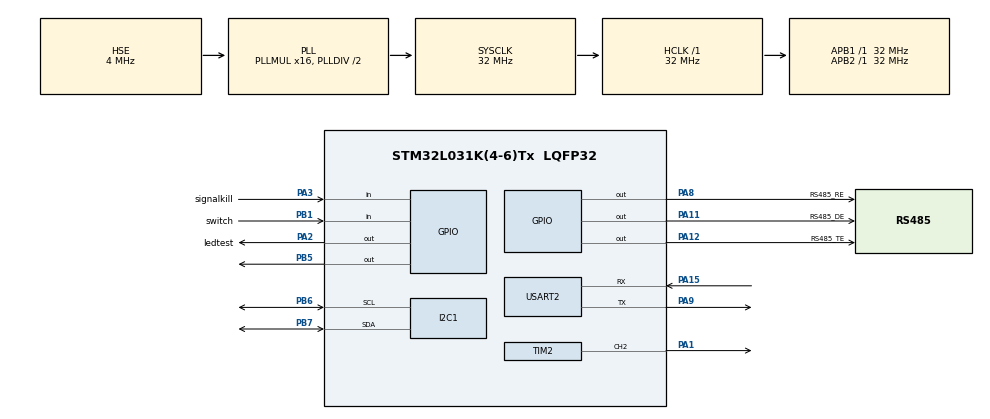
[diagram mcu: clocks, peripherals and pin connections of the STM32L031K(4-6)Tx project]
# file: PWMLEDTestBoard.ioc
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Dma.Request0=TIM2_CH2
Dma.TIM2_CH2.0.Direction=DMA_MEMORY_TO_PERIPH
Dma.TIM2_CH2.0.Instance=DMA1_Channel3
Dma.TIM2_CH2.0.MemDataAlignment=DMA_MDATAALIGN_BYTE
Dma.TIM2_CH2.0.MemInc=DMA_MINC_ENABLE
Dma.TIM2_CH2.0.Mode=DMA_NORMAL
Dma.TIM2_CH2.0.PeriphDataAlignment=DMA_PDATAALIGN_HALFWORD
Dma.TIM2_CH2.0.PeriphInc=DMA_PINC_DISABLE
Dma.TIM2_CH2.0.Priority=DMA_PRIORITY_LOW
FREERTOS.Tasks01=AllumageLED,24,256,Allumage_LED,Default,NULL,Dynamic,NULL,NULL;RecoisTrans,32,128,Recois_Trans,Default,NULL,Dynamic,NULL,NULL
I2C1.Timing=0x00B07CB4
Mcu.Family=STM32L0
Mcu.Name=STM32L031K(4-6)Tx
Mcu.Package=LQFP32
NVIC.DMA1_Channel2_3_IRQn=true\:3\:0\:false\:false\:true\:true\:false\:true\:true
NVIC.USART2_IRQn=true\:3\:0\:false\:false\:true\:true\:true\:true\:true
PA0-CK_IN.Mode=HSE-External-Clock-Source-for-LittleNemo
PA0-CK_IN.Signal=RCC_CK_IN
PA1.Signal=S_TIM2_CH2
PA11.GPIO_Label=RS485_DE
PA11.Signal=GPIO_Output
PA12.GPIO_Label=RS485_TE
PA12.Signal=GPIO_Output
PA13.Mode=Serial_Wire
PA13.Signal=SYS_SWDIO
PA14.Mode=Serial_Wire
PA14.Signal=SYS_SWCLK
PA15.Mode=Asynchronous
PA15.Signal=USART2_RX
PA2.GPIO_Label=ledtest
PA2.Signal=GPIO_Output
PA3.GPIO_Label=signalkill
PA3.Signal=GPIO_Input
PA8.GPIO_Label=RS485_RE
PA8.Signal=GPIO_Output
PA9.Mode=Asynchronous
PA9.Signal=USART2_TX
PB1.GPIO_Label=switch
PB1.Signal=GPIO_Input
PB5.Signal=GPIO_Output
PB6.Mode=I2C
PB6.Signal=I2C1_SCL
PB7.Mode=I2C
PB7.Signal=I2C1_SDA
ProjectManager.HeapSize=0x10
ProjectManager.StackSize=0x10
ProjectManager.TargetToolchain=STM32CubeIDE
RCC.AHBFreq_Value=32000000
RCC.APB1Freq_Value=32000000
RCC.APB1TimFreq_Value=32000000
RCC.APB2Freq_Value=32000000
RCC.APB2TimFreq_Value=32000000
RCC.EnbaleCSS=true
RCC.HCLKFreq_Value=32000000
RCC.HSE_VALUE=4000000
RCC.HSI16_VALUE=16000000
RCC.HSI_VALUE=16000000
RCC.LSE_VALUE=32768
RCC.MSI_VALUE=2097000
RCC.PLLMUL=RCC_PLLMUL_16
RCC.PLLSourceVirtual=RCC_PLLSOURCE_HSE
RCC.SYSCLKFreq_VALUE=32000000
RCC.SYSCLKSource=RCC_SYSCLKSOURCE_PLLCLK
RCC.Usart2ClockSelection=RCC_USART2CLKSOURCE_SYSCLK
RCC.VCOOutputFreq_Value=64000000
SH.S_TIM2_CH2.0=TIM2_CH2,PWM Generation2 CH2
TIM2.AutoReloadPreload=TIM_AUTORELOAD_PRELOAD_DISABLE
TIM2.Channel-PWM\ Generation2\ CH2=TIM_CHANNEL_2
TIM2.OCMode_PWM-PWM\ Generation2\ CH2=TIM_OCMODE_PWM1
TIM2.Period=39
USART2.VirtualMode-Asynchronous=VM_ASYNC
VP_FREERTOS_VS_CMSIS_V2.Mode=CMSIS_V2
VP_TIM2_VS_ClockSourceINT.Mode=Internal
board=custom

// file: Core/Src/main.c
/* USER CODE BEGIN Header */
/**
  ******************************************************************************
  * @file           : main.c
  * @brief          : Main program body
  ******************************************************************************
  * @attention
  *
  * Copyright (c) 2026 STMicroelectronics.
  * All rights reserved.
  *
  * This software is licensed under terms that can be found in the LICENSE file
  * in the root directory of this software component.
  * If no LICENSE file comes with this software, it is provided AS-IS.
  *
  ******************************************************************************
  */
/* USER CODE END Header */
#include "main.h"
#include "cmsis_os.h"

/* USER CODE BEGIN Includes */
#include "RS485_Definition.h"
#include "../LibrairieWS/Interface_FctWS.h"
#include "../LibrairieWS/Interface_ws2812b_driver.h"
#include "../Service/serviceRS485.h"
#include "../Processus/processTestRS485.h"

/* USER CODE END Includes */

I2C_HandleTypeDef hi2c1;

TIM_HandleTypeDef htim2;
DMA_HandleTypeDef hdma_tim2_ch2;

UART_HandleTypeDef huart2;

/* Definitions for AllumageLED */
osThreadId_t AllumageLEDHandle;
const osThreadAttr_t AllumageLED_attributes = {
  .name = "AllumageLED",
  .stack_size = 256 * 4,
  .priority = (osPriority_t) osPriorityNormal,
};

/* Definitions for TestRS485 */
osThreadId_t TestRS485Handle;
const osThreadAttr_t TestRS485_attributes = {
  .name = "TestRS485",
  .stack_size = 256 * 4,
  .priority = (osPriority_t) osPriorityNormal,
};
/* USER CODE BEGIN PV */
ws2812bLedStruct ledStrip;
/* USER CODE END PV */

void SystemClock_Config(void);
static void MX_GPIO_Init(void);
static void MX_DMA_Init(void);
static void MX_I2C1_Init(void);
static void MX_USART2_UART_Init(void);
static void MX_TIM2_Init(void);
void Allumage_LED(void *argument);

/* USER CODE BEGIN PFP */
//void WS2812_Send(ws2812bLedStruct * ledStrip);
//HAL_TIM_PWM_Start(&htim2, TIM_CHANNEL_2);
/* USER CODE END PFP */

int main(void)
{

  /* MCU Configuration--------------------------------------------------------*/

  /* Reset of all peripherals, Initializes the Flash interface and the Systick. */
  HAL_Init();

  /* USER CODE BEGIN Init */
  ws2812bLedStructInit(&ledStrip);
  /* USER CODE END Init */

  /* Configure the system clock */
  SystemClock_Config();

  /* Initialize all configured peripherals */
  MX_GPIO_Init();
  MX_DMA_Init();
  MX_I2C1_Init();
  MX_USART2_UART_Init();
  MX_TIM2_Init();
  /* USER CODE BEGIN 2 */
  //HAL_TIM_PWM_Start_DMA(&htim2, TIM_CHANNEL_2);
  /* USER CODE END 2 */

  /* Init scheduler */
  osKernelInitialize();

  /* USER CODE BEGIN RTOS_MUTEX */
  serviceRS485_initialise();
  /* USER CODE END RTOS_MUTEX */

  /* Create the thread(s) */
  /* creation of AllumageLED */
  AllumageLEDHandle = osThreadNew(Allumage_LED, NULL, &AllumageLED_attributes);

  /* USER CODE BEGIN RTOS_THREADS */
  TestRS485Handle = osThreadNew(
      processTestRS485_thread,
      NULL,
      &TestRS485_attributes
  );
  /* USER CODE END RTOS_THREADS */

  /* Start scheduler */
  osKernelStart();

  /* We should never get here as control is now taken by the scheduler */

  /* Infinite loop */
  while (1)
  {

    /* USER CODE BEGIN 3 */
	  /*
	 ws2812bSetRGB(&ledStrip,0,255,255,255);
	 ws2812bSetRGB(&ledStrip,1,255,0,0);
	 ws2812bSetRGB(&ledStrip,2,255,255,0);
	 ws2812bSetRGB(&ledStrip,3,255,0,0);
	 ws2812bSetRGB(&ledStrip,4,0,255,0);
	 ws2812bSetRGB(&ledStrip,5,255,0,0);
	 ws2812bSetRGB(&ledStrip,6,0,255,0);
	 ws2812bSetRGB(&ledStrip,7,255,0,0);
	 ws2812bSetRGB(&ledStrip,8,0,255,0);
	 //ws2812bSetRGB(&ledStrip,9,255,0,0);
	 //ws2812bSetRGB(&ledStrip,10,0,255,0);
	 //ws2812bSetRGB(&ledStrip,11,255,0,0);

	 ledStrip.dataSentFlag = true;
	 ws2812bSend(&ledStrip,&htim2, TIM_CHANNEL_2);
	 while(ledStrip.dataSentFlag == false);
	 HAL_Delay(1000);
	 ws2812bClearAll(&ledStrip);
	 ws2812bSend(&ledStrip,&htim2, TIM_CHANNEL_2);
	 HAL_Delay(1000);
	 */

  }
  /* USER CODE END 3 */
}

void SystemClock_Config(void)
{
  RCC_OscInitTypeDef RCC_OscInitStruct = {0};
  RCC_ClkInitTypeDef RCC_ClkInitStruct = {0};
  RCC_PeriphCLKInitTypeDef PeriphClkInit = {0};

  /** Configure the main internal regulator output voltage
  */
  __HAL_PWR_VOLTAGESCALING_CONFIG(PWR_REGULATOR_VOLTAGE_SCALE1);

  /** Initializes the RCC Oscillators according to the specified parameters
  * in the RCC_OscInitTypeDef structure.
  */
  RCC_OscInitStruct.OscillatorType = RCC_OSCILLATORTYPE_HSE;
  RCC_OscInitStruct.HSEState = RCC_HSE_BYPASS;
  RCC_OscInitStruct.PLL.PLLState = RCC_PLL_ON;
  RCC_OscInitStruct.PLL.PLLSource = RCC_PLLSOURCE_HSE;
  RCC_OscInitStruct.PLL.PLLMUL = RCC_PLLMUL_16;
  RCC_OscInitStruct.PLL.PLLDIV = RCC_PLLDIV_2;
  if (HAL_RCC_OscConfig(&RCC_OscInitStruct) != HAL_OK)
  {
    Error_Handler();
  }

  /** Initializes the CPU, AHB and APB buses clocks
  */
  RCC_ClkInitStruct.ClockType = RCC_CLOCKTYPE_HCLK|RCC_CLOCKTYPE_SYSCLK
                              |RCC_CLOCKTYPE_PCLK1|RCC_CLOCKTYPE_PCLK2;
  RCC_ClkInitStruct.SYSCLKSource = RCC_SYSCLKSOURCE_PLLCLK;
  RCC_ClkInitStruct.AHBCLKDivider = RCC_SYSCLK_DIV1;
  RCC_ClkInitStruct.APB1CLKDivider = RCC_HCLK_DIV1;
  RCC_ClkInitStruct.APB2CLKDivider = RCC_HCLK_DIV1;

  if (HAL_RCC_ClockConfig(&RCC_ClkInitStruct, FLASH_LATENCY_1) != HAL_OK)
  {
    Error_Handler();
  }
  PeriphClkInit.PeriphClockSelection = RCC_PERIPHCLK_USART2|RCC_PERIPHCLK_I2C1;
  PeriphClkInit.Usart2ClockSelection = RCC_USART2CLKSOURCE_SYSCLK;
  PeriphClkInit.I2c1ClockSelection = RCC_I2C1CLKSOURCE_PCLK1;
  if (HAL_RCCEx_PeriphCLKConfig(&PeriphClkInit) != HAL_OK)
  {
    Error_Handler();
  }

  /** Enables the Clock Security System
  */
  HAL_RCC_EnableCSS();
}

static void MX_I2C1_Init(void)
{

  hi2c1.Instance = I2C1;
  hi2c1.Init.Timing = 0x00B07CB4;
  hi2c1.Init.OwnAddress1 = 0;
  hi2c1.Init.AddressingMode = I2C_ADDRESSINGMODE_7BIT;
  hi2c1.Init.DualAddressMode = I2C_DUALADDRESS_DISABLE;
  hi2c1.Init.OwnAddress2 = 0;
  hi2c1.Init.OwnAddress2Masks = I2C_OA2_NOMASK;
  hi2c1.Init.GeneralCallMode = I2C_GENERALCALL_DISABLE;
  hi2c1.Init.NoStretchMode = I2C_NOSTRETCH_DISABLE;
  if (HAL_I2C_Init(&hi2c1) != HAL_OK)
  {
    Error_Handler();
  }

  /** Configure Analogue filter
  */
  if (HAL_I2CEx_ConfigAnalogFilter(&hi2c1, I2C_ANALOGFILTER_ENABLE) != HAL_OK)
  {
    Error_Handler();
  }

  /** Configure Digital filter
  */
  if (HAL_I2CEx_ConfigDigitalFilter(&hi2c1, 0) != HAL_OK)
  {
    Error_Handler();
  }

}

static void MX_TIM2_Init(void)
{

  TIM_ClockConfigTypeDef sClockSourceConfig = {0};
  TIM_MasterConfigTypeDef sMasterConfig = {0};
  TIM_OC_InitTypeDef sConfigOC = {0};

  htim2.Instance = TIM2;
  htim2.Init.Prescaler = 0;
  htim2.Init.CounterMode = TIM_COUNTERMODE_UP;
  htim2.Init.Period = 39;
  htim2.Init.ClockDivision = TIM_CLOCKDIVISION_DIV1;
  htim2.Init.AutoReloadPreload = TIM_AUTORELOAD_PRELOAD_DISABLE;
  if (HAL_TIM_Base_Init(&htim2) != HAL_OK)
  {
    Error_Handler();
  }
  sClockSourceConfig.ClockSource = TIM_CLOCKSOURCE_INTERNAL;
  if (HAL_TIM_ConfigClockSource(&htim2, &sClockSourceConfig) != HAL_OK)
  {
    Error_Handler();
  }
  if (HAL_TIM_PWM_Init(&htim2) != HAL_OK)
  {
    Error_Handler();
  }
  sMasterConfig.MasterOutputTrigger = TIM_TRGO_RESET;
  sMasterConfig.MasterSlaveMode = TIM_MASTERSLAVEMODE_DISABLE;
  if (HAL_TIMEx_MasterConfigSynchronization(&htim2, &sMasterConfig) != HAL_OK)
  {
    Error_Handler();
  }
  sConfigOC.OCMode = TIM_OCMODE_PWM1;
  sConfigOC.Pulse = 0;
  sConfigOC.OCPolarity = TIM_OCPOLARITY_HIGH;
  sConfigOC.OCFastMode = TIM_OCFAST_DISABLE;
  if (HAL_TIM_PWM_ConfigChannel(&htim2, &sConfigOC, TIM_CHANNEL_2) != HAL_OK)
  {
    Error_Handler();
  }
  HAL_TIM_MspPostInit(&htim2);

}

static void MX_USART2_UART_Init(void)
{

  huart2.Instance = USART2;
  huart2.Init.BaudRate = 115200;
  huart2.Init.WordLength = UART_WORDLENGTH_8B;
  huart2.Init.StopBits = UART_STOPBITS_1;
  huart2.Init.Parity = UART_PARITY_NONE;
  huart2.Init.Mode = UART_MODE_TX_RX;
  huart2.Init.HwFlowCtl = UART_HWCONTROL_NONE;
  huart2.Init.OverSampling = UART_OVERSAMPLING_16;
  huart2.Init.OneBitSampling = UART_ONE_BIT_SAMPLE_DISABLE;
  huart2.AdvancedInit.AdvFeatureInit = UART_ADVFEATURE_NO_INIT;
  if (HAL_UART_Init(&huart2) != HAL_OK)
  {
    Error_Handler();
  }

}

static void MX_DMA_Init(void)
{

  /* DMA controller clock enable */
  __HAL_RCC_DMA1_CLK_ENABLE();

  /* DMA interrupt init */
  /* DMA1_Channel2_3_IRQn interrupt configuration */
  HAL_NVIC_SetPriority(DMA1_Channel2_3_IRQn, 3, 0);
  HAL_NVIC_EnableIRQ(DMA1_Channel2_3_IRQn);

}

static void MX_GPIO_Init(void)
{
  GPIO_InitTypeDef GPIO_InitStruct = {0};

  /* GPIO Ports Clock Enable */
  __HAL_RCC_GPIOA_CLK_ENABLE();
  __HAL_RCC_GPIOB_CLK_ENABLE();

  /*Configure GPIO pin Output Level */
  HAL_GPIO_WritePin(GPIOA, ledtest_Pin|RS485_RE_Pin|RS485_DE_Pin|RS485_TE_Pin, GPIO_PIN_RESET);

  /*Configure GPIO pin Output Level */
  HAL_GPIO_WritePin(GPIOB, GPIO_PIN_5, GPIO_PIN_RESET);

  /*Configure GPIO pins : ledtest_Pin RS485_RE_Pin RS485_DE_Pin RS485_TE_Pin */
  GPIO_InitStruct.Pin = ledtest_Pin|RS485_RE_Pin|RS485_DE_Pin|RS485_TE_Pin;
  GPIO_InitStruct.Mode = GPIO_MODE_OUTPUT_PP;
  GPIO_InitStruct.Pull = GPIO_NOPULL;
  GPIO_InitStruct.Speed = GPIO_SPEED_FREQ_LOW;
  HAL_GPIO_Init(GPIOA, &GPIO_InitStruct);

  /*Configure GPIO pin : signalkill_Pin */
  GPIO_InitStruct.Pin = signalkill_Pin;
  GPIO_InitStruct.Mode = GPIO_MODE_INPUT;
  GPIO_InitStruct.Pull = GPIO_NOPULL;
  HAL_GPIO_Init(signalkill_GPIO_Port, &GPIO_InitStruct);

  /*Configure GPIO pin : switch_Pin */
  GPIO_InitStruct.Pin = switch_Pin;
  GPIO_InitStruct.Mode = GPIO_MODE_INPUT;
  GPIO_InitStruct.Pull = GPIO_NOPULL;
  HAL_GPIO_Init(switch_GPIO_Port, &GPIO_InitStruct);

  /*Configure GPIO pin : PB5 */
  GPIO_InitStruct.Pin = GPIO_PIN_5;
  GPIO_InitStruct.Mode = GPIO_MODE_OUTPUT_PP;
  GPIO_InitStruct.Pull = GPIO_NOPULL;
  GPIO_InitStruct.Speed = GPIO_SPEED_FREQ_LOW;
  HAL_GPIO_Init(GPIOB, &GPIO_InitStruct);

}

/* USER CODE BEGIN 4 */

void HAL_TIM_PWM_PulseFinishedCallback(TIM_HandleTypeDef *htim)
{
    if(htim->Instance == TIM2)
    {
        ledStrip.dataSentFlag = true;
        HAL_TIM_PWM_Stop_DMA(htim, TIM_CHANNEL_2);
    }
}

/*
void HAL_TIM_PWM_PulseFinishedCallback(TIM_HandleTypeDef *htim)
{
    if(htim->Instance == TIM2)
    {
    	ledStrip->dataSentFlag = false;
        HAL_TIM_PWM_Stop_DMA(htim, TIM_CHANNEL_2);
    }
}
*/
/* USER CODE END 4 */

void Allumage_LED(void *argument)
{
  /* USER CODE BEGIN 5 */
  /* Infinite loop */
  for(;;)
  {
	     //ws2812bSetRGB(&ledStrip,Led,R,G,B);

	  	 ws2812bSetRGB(&ledStrip,1,255,0,0);
	  	 ws2812bSetRGB(&ledStrip,0,255,0,0);

	  	 ledStrip.dataSentFlag = true;
	  	 ws2812bSend(&ledStrip,&htim2, TIM_CHANNEL_2);
	  	 while(ledStrip.dataSentFlag == false);
	  	 osDelay(1000);
	  	 ws2812bClearAll(&ledStrip);
	  	 ws2812bSend(&ledStrip,&htim2, TIM_CHANNEL_2);
  }
  /* USER CODE END 5 */
}

void Recois_Trans(void *argument)
{
  /* USER CODE BEGIN Recois_Trans */
  /* Infinite loop */
  for(;;)
  {
#define R 0;
#define G 0;
#define B 255;
#define Led 2;
    osDelay(1000);
  }
  /* USER CODE END Recois_Trans */
}

void Error_Handler(void)
{
  __disable_irq();
  while (1)
  {
  }
}
